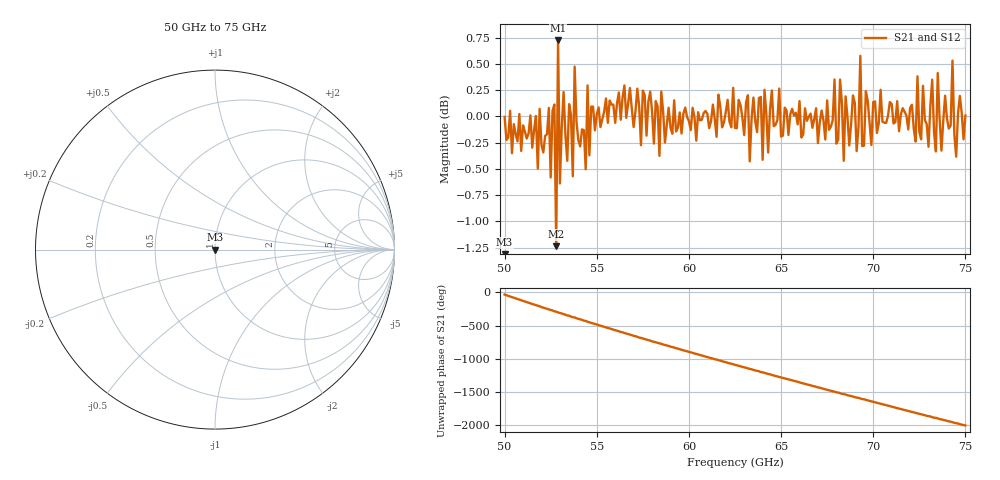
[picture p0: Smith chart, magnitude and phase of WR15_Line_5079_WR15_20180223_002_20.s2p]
# GHZ S RI R 50
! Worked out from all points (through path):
!   251 points, 50 GHz to 75 GHz, reference 50 ohm
!   highest |S21| = 0.72 dB at 52.9 GHz (marker M1); lowest = -1.2 dB at 52.8 GHz (marker M2)
!   lowest |S11| = - dB at 50 GHz (marker M3), VSWR 1.00, Z = 50 - j4.62e-16 ohm
!   |S11| at or under -10 dB: start of sweep to end of sweep
!   |S22| runs from - to - dB; largest |S21 - S12| = 2.2e-15
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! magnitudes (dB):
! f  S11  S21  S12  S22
! 50 GHz  -  0.0  0.0  -
! 51.8 GHz  -  -0.5  -0.5  -
! 52.4 GHz  -  0.1  0.1  -
! 52.5 GHz  -  -0.6  -0.6  -
! 52.7 GHz  -  0.1  0.1  -
! 52.8 GHz  -  -1.2  -1.2  -
! 52.9 GHz  -  0.7  0.7  -
! 53 GHz  -  -0.6  -0.6  -
! 53.2 GHz  -  0.2  0.2  -
! 53.7 GHz  -  -0.6  -0.6  -
! 53.8 GHz  -  0.5  0.5  -
! 54.2 GHz  -  -0.1  -0.1  -
! 57.9 GHz  -  0.2  0.2  -
! 58.4 GHz  -  -0.4  -0.4  -
! 58.5 GHz  -  0.2  0.2  -
! 62.5 GHz  -  -0.1  -0.1  -
! 66.7 GHz  -  -0.1  -0.1  -
! 69.1 GHz  -  -0.3  -0.3  -
! 69.3 GHz  -  0.6  0.6  -
! 69.4 GHz  -  -0.3  -0.3  -
! 70.9 GHz  -  0.1  0.1  -
! 75 GHz  -  0.0  0.0  -
